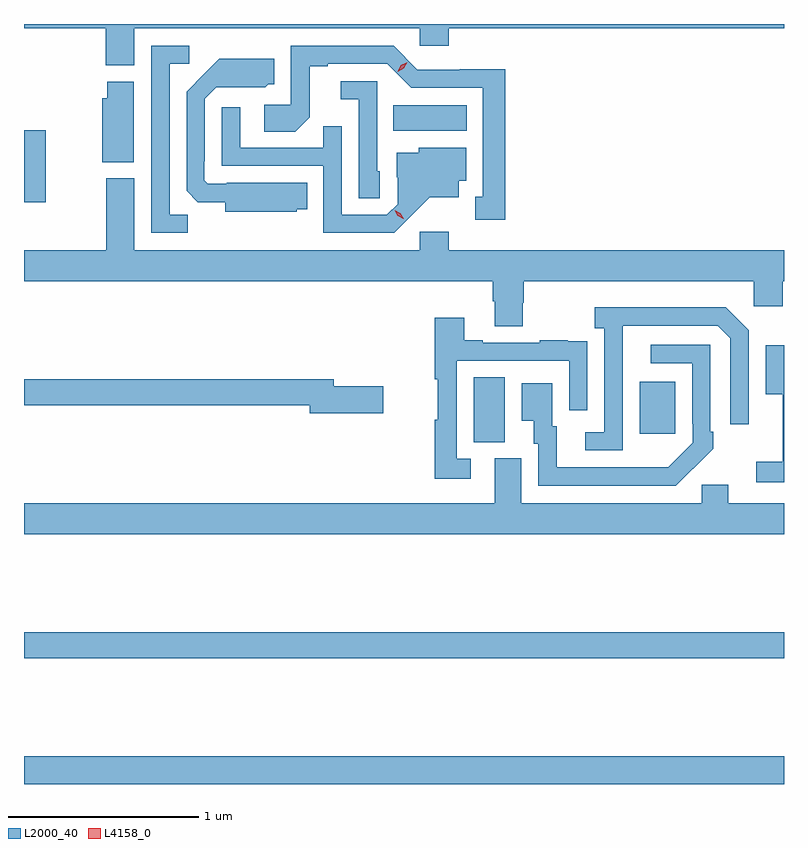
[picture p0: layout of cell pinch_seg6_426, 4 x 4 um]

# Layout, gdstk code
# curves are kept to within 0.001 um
import gdstk
lib = gdstk.Library(unit=1e-6, precision=1e-09)
def R(c, l, rs):  # rectangles x0, y0, x1, y1
    for r in rs: c.add(gdstk.rectangle(r[:2], r[2:], *l))
def P(c, l, *ps):  # polygons
    for p in ps: c.add(gdstk.Polygon(p, *l))
L2000_40 = (2000, 40)
L4158_0 = (4158, 0)

pinch_seg6_426 = lib.new_cell('pinch_seg6_426')
R(pinch_seg6_426, L2000_40, [(698.861,930.038,702.861,930.184), (698.861,930.7,702.861,930.836), (701.228,931.837,701.392,932.18), (702.101,931.881,702.289,932.155), (698.861,933.099,698.976,933.48), (700.804,933.476,701.191,933.61)])
P(pinch_seg6_426, L2000_40, [(699.442,934.016),(700.944,934.016),(700.944,933.923),(701.096,933.923),(701.096,934.016),(702.861,934.016),(702.861,934.038),(698.861,934.038),(698.861,934.016),(699.29,934.016),(699.29,933.822),(699.442,933.822)],
  [(701.395,933.8),(701.154,933.8),(701.154,933.798),(700.932,933.798),(700.806,933.924),(700.266,933.924),(700.266,933.612),(700.125,933.612),(700.125,933.472),(700.289,933.472),(700.365,933.548),(700.365,933.816),(700.459,933.816),(700.459,933.828),(700.773,933.828),(700.899,933.702),(701.276,933.702),(701.276,933.129),(701.237,933.129),(701.237,933.009),(701.395,933.009)],
  [(699.723,933.035),(699.627,933.035),(699.627,933.828),(699.73,933.828),(699.73,933.924),(699.531,933.924),(699.531,932.94),(699.723,932.94)],
  [(700.296,933.062),(700.352,933.062),(700.352,933.202),(699.928,933.202),(699.928,933.198),(699.828,933.198),(699.81,933.216),(699.81,933.316),(699.813,933.316),(699.813,933.645),(699.873,933.705),(700.13,933.704),(700.146,933.72),(700.177,933.72),(700.177,933.856),(699.889,933.856),(699.717,933.682),(699.717,933.16),(699.776,933.101),(699.92,933.101),(699.92,933.05),(700.296,933.05)],
  [(700.734,933.264),(700.719,933.264),(700.719,933.738),(700.527,933.738),(700.527,933.641),(700.623,933.641),(700.623,933.121),(700.734,933.121)],
  [(699.439,933.733),(699.299,933.733),(699.299,933.646),(699.272,933.646),(699.272,933.311),(699.439,933.311)],
  [(700.894,933.023),(700.997,933.125),(701.149,933.125),(701.149,933.212),(701.188,933.212),(701.188,933.388),(700.938,933.388),(700.938,933.361),(700.823,933.361),(700.823,933.232),(700.827,933.232),(700.827,933.09),(700.77,933.033),(700.533,933.033),(700.533,933.5),(700.435,933.5),(700.435,933.387),(699.999,933.387),(699.999,933.601),(699.903,933.601),(699.903,933.291),(700.437,933.291),(700.437,932.94),(700.81,932.94)],
  [(701.327,932.578),(701.339,932.578),(701.339,932.446),(701.487,932.446),(701.487,932.571),(701.492,932.571),(701.492,932.684),(702.702,932.684),(702.702,932.553),(702.854,932.553),(702.854,932.684),(702.861,932.684),(702.861,932.848),(701.096,932.848),(701.096,932.944),(700.944,932.944),(700.944,932.848),(699.442,932.848),(699.442,933.226),(699.295,933.226),(699.295,932.848),(698.861,932.848),(698.861,932.684),(701.327,932.684)],
  [(702.012,932.251),(702.013,932.451),(702.513,932.451),(702.579,932.385),(702.579,931.932),(702.675,931.932),(702.675,932.427),(702.554,932.548),(701.865,932.548),(701.865,932.438),(701.916,932.438),(701.916,931.89),(701.814,931.89),(701.814,931.794),(702.012,931.794)],
  [(701.212,931.749),(701.139,931.749),(701.139,932.265),(701.73,932.265),(701.73,932.004),(701.826,932.004),(701.826,932.258),(701.825,932.258),(701.825,932.367),(701.723,932.367),(701.723,932.374),(701.575,932.374),(701.575,932.361),(701.275,932.361),(701.275,932.374),(701.179,932.374),(701.179,932.491),(701.023,932.491),(701.023,932.168),(701.038,932.168),(701.038,931.956),(701.023,931.956),(701.023,931.644),(701.212,931.644)],
  [(702.383,931.699),(702.384,931.698),(702.489,931.803),(702.489,931.891),(702.474,931.891),(702.474,932.349),(702.159,932.349),(702.159,932.253),(702.378,932.253),(702.378,931.933),(702.381,931.933),(702.381,931.833),(702.253,931.705),(701.665,931.704),(701.665,931.92),(701.641,931.92),(701.641,932.146),(701.48,932.146),(701.48,931.949),(701.543,931.949),(701.543,931.83),(701.568,931.83),(701.568,931.608),(702.292,931.608)],
  [(702.861,932.347),(702.764,932.347),(702.764,932.09),(702.854,932.09),(702.854,931.735),(702.714,931.735),(702.714,931.626),(702.861,931.626)],
  [(700.753,932.132),(700.492,932.132),(700.492,932.168),(698.861,932.168),(698.861,932.032),(700.364,932.032),(700.364,931.99),(700.753,931.99)],
  [(702.861,931.516),(702.568,931.516),(702.568,931.614),(702.429,931.614),(702.429,931.516),(701.479,931.516),(701.479,931.752),(701.339,931.752),(701.339,931.516),(698.861,931.516),(698.861,931.352),(702.861,931.352)])
P(pinch_seg6_426, L4158_0, [(700.827,933.787),(700.827,933.787),(700.845,933.82),(700.877,933.838),(700.878,933.838),(700.878,933.838),(700.859,933.806),(700.827,933.787)],
  [(700.858,933.012),(700.828,933.028),(700.812,933.058),(700.812,933.058),(700.812,933.058),(700.842,933.042),(700.859,933.012),(700.859,933.012)])

lib.write_gds('pinch_seg6_426.gds')
